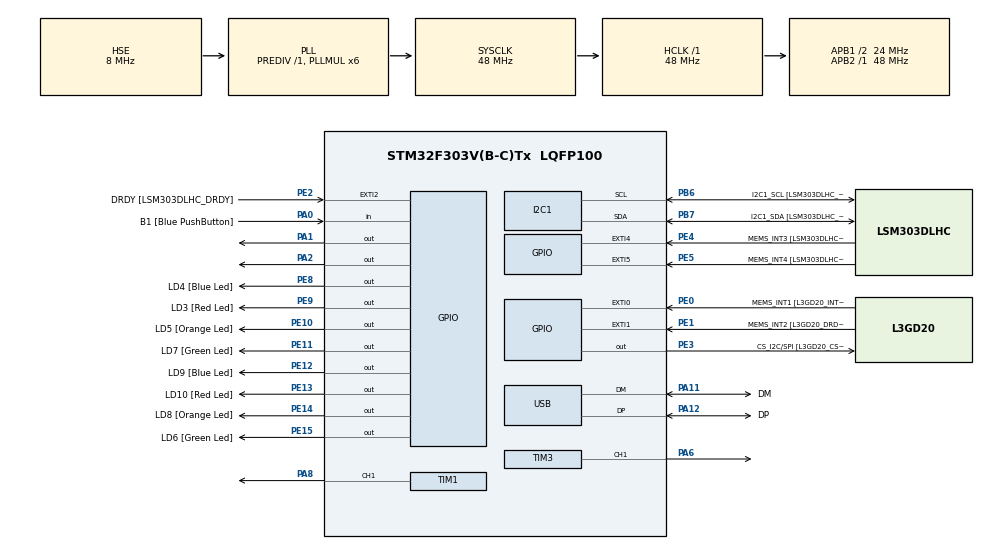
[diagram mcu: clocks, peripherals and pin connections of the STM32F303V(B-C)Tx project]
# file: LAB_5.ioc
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I2C1.Timing=0x2000090E
I2C1.Timing-I2C=0x2000090E
Mcu.Family=STM32F3
Mcu.Name=STM32F303V(B-C)Tx
Mcu.Package=LQFP100
NVIC.PriorityGroup=NVIC_PRIORITYGROUP_0
PA0.GPIO_Label=B1 [Blue PushButton]
PA0.Signal=GPIO_Input
PA1.Signal=GPIO_Output
PA11.GPIO_Label=DM
PA11.Mode=Device
PA11.Signal=USB_DM
PA12.GPIO_Label=DP
PA12.Mode=Device
PA12.Signal=USB_DP
PA13.GPIO_Label=SWDIO
PA13.Mode=Serial_Wire
PA13.Signal=SYS_JTMS-SWDIO
PA14.GPIO_Label=SWCLK
PA14.Mode=Serial_Wire
PA14.Signal=SYS_JTCK-SWCLK
PA2.Signal=GPIO_Output
PA5.GPIO_Label=SPI1_SCK [L3GD20_SCL/SPC]
PA5.Signal=SPI1_SCK
PA6.Signal=S_TIM3_CH1
PA7.GPIO_Label=SPI1_MISO [L3GD20_SDA/SDI/SDO]
PA7.Signal=SPI1_MOSI
PA8.Signal=S_TIM1_CH1
PB3.GPIO_Label=SWO
PB3.Signal=SYS_JTDO-TRACESWO
PB6.GPIO_Label=I2C1_SCL [LSM303DLHC_SCL]
PB6.GPIO_Pu=GPIO_PULLUP
PB6.Mode=I2C
PB6.Signal=I2C1_SCL
PB7.GPIO_Label=I2C1_SDA [LSM303DLHC_SDA]
PB7.GPIO_Pu=GPIO_PULLUP
PB7.Mode=I2C
PB7.Signal=I2C1_SDA
PC14-OSC32_IN.GPIO_Label=OSC32_IN
PC14-OSC32_IN.Signal=RCC_OSC32_IN
PC15-OSC32_OUT.GPIO_Label=OSC32_OUT
PC15-OSC32_OUT.Signal=RCC_OSC32_OUT
PE0.GPIO_Label=MEMS_INT1 [L3GD20_INT1]
PE0.GPIO_ModeDefaultEXTI=GPIO_MODE_EVT_RISING
PE0.Signal=GPXTI0
PE1.GPIO_Label=MEMS_INT2 [L3GD20_DRDY/INT2]
PE1.GPIO_ModeDefaultEXTI=GPIO_MODE_EVT_RISING
PE1.Signal=GPXTI1
PE10.GPIO_Label=LD5 [Orange Led]
PE10.Signal=GPIO_Output
PE11.GPIO_Label=LD7 [Green Led]
PE11.Signal=GPIO_Output
PE12.GPIO_Label=LD9 [Blue Led]
PE12.Signal=GPIO_Output
PE13.GPIO_Label=LD10 [Red Led]
PE13.Signal=GPIO_Output
PE14.GPIO_Label=LD8 [Orange Led]
PE14.Signal=GPIO_Output
PE15.GPIO_Label=LD6 [Green Led]
PE15.Signal=GPIO_Output
PE2.GPIO_Label=DRDY [LSM303DLHC_DRDY]
PE2.GPIO_ModeDefaultEXTI=GPIO_MODE_EVT_RISING
PE2.Signal=GPXTI2
PE3.GPIO_Label=CS_I2C/SPI [L3GD20_CS_I2C/SPI]
PE3.Signal=GPIO_Output
PE4.GPIO_Label=MEMS_INT3 [LSM303DLHC_INT1]
PE4.GPIO_ModeDefaultEXTI=GPIO_MODE_EVT_RISING
PE4.Signal=GPXTI4
PE5.GPIO_Label=MEMS_INT4 [LSM303DLHC_INT2]
PE5.GPIO_ModeDefaultEXTI=GPIO_MODE_EVT_RISING
PE5.Signal=GPXTI5
PE8.GPIO_Label=LD4 [Blue Led]
PE8.Signal=GPIO_Output
PE9.GPIO_Label=LD3 [Red Led]
PE9.Signal=GPIO_Output
PF0-OSC_IN.GPIO_Label=OSC_IN
PF0-OSC_IN.Mode=HSE-External-Clock-Source
PF0-OSC_IN.Signal=RCC_OSC_IN
PF1-OSC_OUT.GPIO_Label=OSC_OUT
PF1-OSC_OUT.Signal=RCC_OSC_OUT
ProjectManager.HeapSize=0x200
ProjectManager.StackSize=0x400
ProjectManager.TargetToolchain=CMake
RCC.AHBFreq_Value=48000000
RCC.APB1CLKDivider=RCC_HCLK_DIV2
RCC.APB1Freq_Value=24000000
RCC.APB1TimFreq_Value=48000000
RCC.APB2Freq_Value=48000000
RCC.APB2TimFreq_Value=48000000
RCC.CortexFreq_Value=48000000
RCC.HCLKFreq_Value=48000000
RCC.HSE_VALUE=8000000
RCC.HSI_VALUE=8000000
RCC.LSE_VALUE=32768
RCC.PLLMUL=RCC_PLL_MUL6
RCC.SYSCLKFreq_VALUE=48000000
RCC.SYSCLKSourceVirtual=RCC_SYSCLKSOURCE_PLLCLK
RCC.USBFreq_Value=48000000
SH.S_TIM1_CH1.0=TIM1_CH1,PWM Generation1 CH1
SH.S_TIM3_CH1.0=TIM3_CH1,PWM Generation1 CH1
TIM1.Channel-PWM\ Generation1\ CH1=TIM_CHANNEL_1
TIM3.Channel-PWM\ Generation1\ CH1=TIM_CHANNEL_1
TIM3.Period=999
TIM3.Prescaler=71
board=STM32F3DISCOVERY

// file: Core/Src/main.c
/* USER CODE BEGIN Header */
/**
  ******************************************************************************
  * @file           : main.c
  * @brief          : Main program body (Task 2 - Motor Speed Control)
  ******************************************************************************
  */
/* USER CODE END Header */
#include "main.h"

I2C_HandleTypeDef hi2c1;

TIM_HandleTypeDef htim1;
TIM_HandleTypeDef htim3;

PCD_HandleTypeDef hpcd_USB_FS;

void SystemClock_Config(void);
static void MX_GPIO_Init(void);
static void MX_I2C1_Init(void);
static void MX_TIM3_Init(void);
static void MX_USB_PCD_Init(void);
static void MX_TIM1_Init(void);
/* USER CODE BEGIN PFP */
void Motor_SetSpeed(uint16_t speed);
void Motor_SetDirection(uint8_t dir);
/* USER CODE END PFP */

/* USER CODE BEGIN 0 */
/* Motor wiring:
   - PA6  -> PWM input (ENA) on Keyes L298N
   - PA9  -> IN1 (direction)
   - PA10 -> IN2 (direction)
*/
/* USER CODE END 0 */

 /* USER CODE BEGIN 0 */

// Motor control helper functions
void Motor_SetSpeed(uint16_t speed)
{
    if (speed > 999) speed = 999; // clamp to ARR
    __HAL_TIM_SET_COMPARE(&htim3, TIM_CHANNEL_1, speed);
}

void Motor_SetDirection(uint8_t dir)
{
    if (dir == 0) { // forward
        HAL_GPIO_WritePin(GPIOA, GPIO_PIN_1, GPIO_PIN_SET);
        HAL_GPIO_WritePin(GPIOA, GPIO_PIN_2, GPIO_PIN_RESET);
    } else {        // reverse
        HAL_GPIO_WritePin(GPIOA, GPIO_PIN_1, GPIO_PIN_RESET);
        HAL_GPIO_WritePin(GPIOA, GPIO_PIN_2, GPIO_PIN_SET);
    }
}

/* USER CODE END 0 */

int main(void)
{

  /* MCU Configuration--------------------------------------------------------*/

  /* Reset of all peripherals, Initializes the Flash interface and the Systick. */
  HAL_Init();

  /* Configure the system clock */
  SystemClock_Config();

  /* Initialize all configured peripherals */
  MX_GPIO_Init();
  MX_I2C1_Init();
  MX_TIM3_Init();
  MX_USB_PCD_Init();
  MX_TIM1_Init();
  /* USER CODE BEGIN 2 */
  // Start PWM on TIM3 Channel 1 (PC6)
HAL_TIM_PWM_Start(&htim3, TIM_CHANNEL_1);  // correct spelling!
Motor_SetDirection(0);
Motor_SetSpeed(500);

  // Initial direction = forward
  HAL_GPIO_WritePin(GPIOA, GPIO_PIN_1, GPIO_PIN_SET);   // IN1 = 1
  HAL_GPIO_WritePin(GPIOA, GPIO_PIN_2, GPIO_PIN_RESET); // IN2 = 0

  // Set 50% duty cycle
  __HAL_TIM_SET_COMPARE(&htim3, TIM_CHANNEL_1, 500);

  /* USER CODE END 2 */

  /* Infinite loop */
  /* USER CODE BEGIN WHILE */
  while (1)
{
    // Clockwise
    Motor_SetDirection(0);   // IN1=1, IN2=0
    Motor_SetSpeed(700);     // ~70% duty cycle

    HAL_Delay(1000);         // run 1 second

    // Stop
    Motor_SetSpeed(0);
    HAL_Delay(500);

    // Counter-Clockwise
    Motor_SetDirection(1);   // IN1=0, IN2=1
    Motor_SetSpeed(700);     // ~70% duty cycle
    HAL_Delay(1000);         // run 1 second

    // Stop
    Motor_SetSpeed(0);
    HAL_Delay(500);
}

  /* USER CODE END 3 */
}

void SystemClock_Config(void)
{
  RCC_OscInitTypeDef RCC_OscInitStruct = {0};
  RCC_ClkInitTypeDef RCC_ClkInitStruct = {0};
  RCC_PeriphCLKInitTypeDef PeriphClkInit = {0};

  /** Initializes the RCC Oscillators according to the specified parameters
  * in the RCC_OscInitTypeDef structure.
  */
  RCC_OscInitStruct.OscillatorType = RCC_OSCILLATORTYPE_HSI|RCC_OSCILLATORTYPE_HSE;
  RCC_OscInitStruct.HSEState = RCC_HSE_BYPASS;
  RCC_OscInitStruct.HSEPredivValue = RCC_HSE_PREDIV_DIV1;
  RCC_OscInitStruct.HSIState = RCC_HSI_ON;
  RCC_OscInitStruct.HSICalibrationValue = RCC_HSICALIBRATION_DEFAULT;
  RCC_OscInitStruct.PLL.PLLState = RCC_PLL_ON;
  RCC_OscInitStruct.PLL.PLLSource = RCC_PLLSOURCE_HSE;
  RCC_OscInitStruct.PLL.PLLMUL = RCC_PLL_MUL6;
  if (HAL_RCC_OscConfig(&RCC_OscInitStruct) != HAL_OK)
  {
    Error_Handler();
  }

  /** Initializes the CPU, AHB and APB buses clocks
  */
  RCC_ClkInitStruct.ClockType = RCC_CLOCKTYPE_HCLK|RCC_CLOCKTYPE_SYSCLK
                              |RCC_CLOCKTYPE_PCLK1|RCC_CLOCKTYPE_PCLK2;
  RCC_ClkInitStruct.SYSCLKSource = RCC_SYSCLKSOURCE_PLLCLK;
  RCC_ClkInitStruct.AHBCLKDivider = RCC_SYSCLK_DIV1;
  RCC_ClkInitStruct.APB1CLKDivider = RCC_HCLK_DIV2;
  RCC_ClkInitStruct.APB2CLKDivider = RCC_HCLK_DIV1;

  if (HAL_RCC_ClockConfig(&RCC_ClkInitStruct, FLASH_LATENCY_1) != HAL_OK)
  {
    Error_Handler();
  }
  PeriphClkInit.PeriphClockSelection = RCC_PERIPHCLK_USB|RCC_PERIPHCLK_I2C1
                              |RCC_PERIPHCLK_TIM1;
  PeriphClkInit.I2c1ClockSelection = RCC_I2C1CLKSOURCE_HSI;
  PeriphClkInit.USBClockSelection = RCC_USBCLKSOURCE_PLL;
  PeriphClkInit.Tim1ClockSelection = RCC_TIM1CLK_HCLK;
  if (HAL_RCCEx_PeriphCLKConfig(&PeriphClkInit) != HAL_OK)
  {
    Error_Handler();
  }
}

static void MX_I2C1_Init(void)
{

  hi2c1.Instance = I2C1;
  hi2c1.Init.Timing = 0x2000090E;
  hi2c1.Init.OwnAddress1 = 0;
  hi2c1.Init.AddressingMode = I2C_ADDRESSINGMODE_7BIT;
  hi2c1.Init.DualAddressMode = I2C_DUALADDRESS_DISABLE;
  hi2c1.Init.OwnAddress2 = 0;
  hi2c1.Init.OwnAddress2Masks = I2C_OA2_NOMASK;
  hi2c1.Init.GeneralCallMode = I2C_GENERALCALL_DISABLE;
  hi2c1.Init.NoStretchMode = I2C_NOSTRETCH_DISABLE;
  if (HAL_I2C_Init(&hi2c1) != HAL_OK)
  {
    Error_Handler();
  }

  /** Configure Analogue filter
  */
  if (HAL_I2CEx_ConfigAnalogFilter(&hi2c1, I2C_ANALOGFILTER_ENABLE) != HAL_OK)
  {
    Error_Handler();
  }

  /** Configure Digital filter
  */
  if (HAL_I2CEx_ConfigDigitalFilter(&hi2c1, 0) != HAL_OK)
  {
    Error_Handler();
  }

}

static void MX_TIM1_Init(void)
{

  TIM_MasterConfigTypeDef sMasterConfig = {0};
  TIM_OC_InitTypeDef sConfigOC = {0};
  TIM_BreakDeadTimeConfigTypeDef sBreakDeadTimeConfig = {0};

  htim1.Instance = TIM1;
  htim1.Init.Prescaler = 0;
  htim1.Init.CounterMode = TIM_COUNTERMODE_UP;
  htim1.Init.Period = 65535;
  htim1.Init.ClockDivision = TIM_CLOCKDIVISION_DIV1;
  htim1.Init.RepetitionCounter = 0;
  htim1.Init.AutoReloadPreload = TIM_AUTORELOAD_PRELOAD_DISABLE;
  if (HAL_TIM_PWM_Init(&htim1) != HAL_OK)
  {
    Error_Handler();
  }
  sMasterConfig.MasterOutputTrigger = TIM_TRGO_RESET;
  sMasterConfig.MasterOutputTrigger2 = TIM_TRGO2_RESET;
  sMasterConfig.MasterSlaveMode = TIM_MASTERSLAVEMODE_DISABLE;
  if (HAL_TIMEx_MasterConfigSynchronization(&htim1, &sMasterConfig) != HAL_OK)
  {
    Error_Handler();
  }
  sConfigOC.OCMode = TIM_OCMODE_PWM1;
  sConfigOC.Pulse = 0;
  sConfigOC.OCPolarity = TIM_OCPOLARITY_HIGH;
  sConfigOC.OCNPolarity = TIM_OCNPOLARITY_HIGH;
  sConfigOC.OCFastMode = TIM_OCFAST_DISABLE;
  sConfigOC.OCIdleState = TIM_OCIDLESTATE_RESET;
  sConfigOC.OCNIdleState = TIM_OCNIDLESTATE_RESET;
  if (HAL_TIM_PWM_ConfigChannel(&htim1, &sConfigOC, TIM_CHANNEL_1) != HAL_OK)
  {
    Error_Handler();
  }
  sBreakDeadTimeConfig.OffStateRunMode = TIM_OSSR_DISABLE;
  sBreakDeadTimeConfig.OffStateIDLEMode = TIM_OSSI_DISABLE;
  sBreakDeadTimeConfig.LockLevel = TIM_LOCKLEVEL_OFF;
  sBreakDeadTimeConfig.DeadTime = 0;
  sBreakDeadTimeConfig.BreakState = TIM_BREAK_DISABLE;
  sBreakDeadTimeConfig.BreakPolarity = TIM_BREAKPOLARITY_HIGH;
  sBreakDeadTimeConfig.BreakFilter = 0;
  sBreakDeadTimeConfig.Break2State = TIM_BREAK2_DISABLE;
  sBreakDeadTimeConfig.Break2Polarity = TIM_BREAK2POLARITY_HIGH;
  sBreakDeadTimeConfig.Break2Filter = 0;
  sBreakDeadTimeConfig.AutomaticOutput = TIM_AUTOMATICOUTPUT_DISABLE;
  if (HAL_TIMEx_ConfigBreakDeadTime(&htim1, &sBreakDeadTimeConfig) != HAL_OK)
  {
    Error_Handler();
  }
  HAL_TIM_MspPostInit(&htim1);

}

static void MX_TIM3_Init(void)
{

  TIM_MasterConfigTypeDef sMasterConfig = {0};
  TIM_OC_InitTypeDef sConfigOC = {0};

  htim3.Instance = TIM3;
  htim3.Init.Prescaler = 71;
  htim3.Init.CounterMode = TIM_COUNTERMODE_UP;
  htim3.Init.Period = 999;
  htim3.Init.ClockDivision = TIM_CLOCKDIVISION_DIV1;
  htim3.Init.AutoReloadPreload = TIM_AUTORELOAD_PRELOAD_DISABLE;
  if (HAL_TIM_PWM_Init(&htim3) != HAL_OK)
  {
    Error_Handler();
  }
  sMasterConfig.MasterOutputTrigger = TIM_TRGO_RESET;
  sMasterConfig.MasterSlaveMode = TIM_MASTERSLAVEMODE_DISABLE;
  if (HAL_TIMEx_MasterConfigSynchronization(&htim3, &sMasterConfig) != HAL_OK)
  {
    Error_Handler();
  }
  sConfigOC.OCMode = TIM_OCMODE_PWM1;
  sConfigOC.Pulse = 0;
  sConfigOC.OCPolarity = TIM_OCPOLARITY_HIGH;
  sConfigOC.OCFastMode = TIM_OCFAST_DISABLE;
  if (HAL_TIM_PWM_ConfigChannel(&htim3, &sConfigOC, TIM_CHANNEL_1) != HAL_OK)
  {
    Error_Handler();
  }
  HAL_TIM_MspPostInit(&htim3);

}

static void MX_USB_PCD_Init(void)
{

  hpcd_USB_FS.Instance = USB;
  hpcd_USB_FS.Init.dev_endpoints = 8;
  hpcd_USB_FS.Init.speed = PCD_SPEED_FULL;
  hpcd_USB_FS.Init.phy_itface = PCD_PHY_EMBEDDED;
  hpcd_USB_FS.Init.low_power_enable = DISABLE;
  hpcd_USB_FS.Init.battery_charging_enable = DISABLE;
  if (HAL_PCD_Init(&hpcd_USB_FS) != HAL_OK)
  {
    Error_Handler();
  }

}

static void MX_GPIO_Init(void)
{
  GPIO_InitTypeDef GPIO_InitStruct = {0};

  /* GPIO Ports Clock Enable */
  __HAL_RCC_GPIOE_CLK_ENABLE();
  __HAL_RCC_GPIOC_CLK_ENABLE();
  __HAL_RCC_GPIOF_CLK_ENABLE();
  __HAL_RCC_GPIOA_CLK_ENABLE();
  __HAL_RCC_GPIOB_CLK_ENABLE();

  /*Configure GPIO pin Output Level */
  HAL_GPIO_WritePin(GPIOE, CS_I2C_SPI_Pin|LD4_Pin|LD3_Pin|LD5_Pin
                          |LD7_Pin|LD9_Pin|LD10_Pin|LD8_Pin
                          |LD6_Pin, GPIO_PIN_RESET);

  /*Configure GPIO pin Output Level */
  HAL_GPIO_WritePin(GPIOA, GPIO_PIN_1|GPIO_PIN_2, GPIO_PIN_RESET);

  /*Configure GPIO pins : DRDY_Pin MEMS_INT3_Pin MEMS_INT4_Pin MEMS_INT1_Pin
                           MEMS_INT2_Pin */
  GPIO_InitStruct.Pin = DRDY_Pin|MEMS_INT3_Pin|MEMS_INT4_Pin|MEMS_INT1_Pin
                          |MEMS_INT2_Pin;
  GPIO_InitStruct.Mode = GPIO_MODE_EVT_RISING;
  GPIO_InitStruct.Pull = GPIO_NOPULL;
  HAL_GPIO_Init(GPIOE, &GPIO_InitStruct);

  /*Configure GPIO pins : CS_I2C_SPI_Pin LD4_Pin LD3_Pin LD5_Pin
                           LD7_Pin LD9_Pin LD10_Pin LD8_Pin
                           LD6_Pin */
  GPIO_InitStruct.Pin = CS_I2C_SPI_Pin|LD4_Pin|LD3_Pin|LD5_Pin
                          |LD7_Pin|LD9_Pin|LD10_Pin|LD8_Pin
                          |LD6_Pin;
  GPIO_InitStruct.Mode = GPIO_MODE_OUTPUT_PP;
  GPIO_InitStruct.Pull = GPIO_NOPULL;
  GPIO_InitStruct.Speed = GPIO_SPEED_FREQ_LOW;
  HAL_GPIO_Init(GPIOE, &GPIO_InitStruct);

  /*Configure GPIO pin : B1_Pin */
  GPIO_InitStruct.Pin = B1_Pin;
  GPIO_InitStruct.Mode = GPIO_MODE_INPUT;
  GPIO_InitStruct.Pull = GPIO_NOPULL;
  HAL_GPIO_Init(B1_GPIO_Port, &GPIO_InitStruct);

  /*Configure GPIO pins : PA1 PA2 */
  GPIO_InitStruct.Pin = GPIO_PIN_1|GPIO_PIN_2;
  GPIO_InitStruct.Mode = GPIO_MODE_OUTPUT_PP;
  GPIO_InitStruct.Pull = GPIO_NOPULL;
  GPIO_InitStruct.Speed = GPIO_SPEED_FREQ_LOW;
  HAL_GPIO_Init(GPIOA, &GPIO_InitStruct);

  /*Configure GPIO pins : SPI1_SCK_Pin SPI1_MISO_Pin */
  GPIO_InitStruct.Pin = SPI1_SCK_Pin|SPI1_MISO_Pin;
  GPIO_InitStruct.Mode = GPIO_MODE_AF_PP;
  GPIO_InitStruct.Pull = GPIO_NOPULL;
  GPIO_InitStruct.Speed = GPIO_SPEED_FREQ_HIGH;
  GPIO_InitStruct.Alternate = GPIO_AF5_SPI1;
  HAL_GPIO_Init(GPIOA, &GPIO_InitStruct);

}

/* USER CODE BEGIN 4 */
// void Motor_SetSpeed(uint16_t speed)
// {
//     if (speed > 999) speed = 999; // clamp
//     __HAL_TIM_SET_COMPARE(&htim3, TIM_CHANNEL_1, speed);
// }

// void Motor_SetDirection(uint8_t dir)
// {
//     if (dir == 0) { // forward
//         HAL_GPIO_WritePin(GPIOA, GPIO_PIN_9, GPIO_PIN_SET);
//         HAL_GPIO_WritePin(GPIOA, GPIO_PIN_10, GPIO_PIN_RESET);
//     } else {        // reverse
//         HAL_GPIO_WritePin(GPIOA, GPIO_PIN_9, GPIO_PIN_RESET);
//         HAL_GPIO_WritePin(GPIOA, GPIO_PIN_10, GPIO_PIN_SET);
//     }
// }

/* USER CODE END 4 */

void Error_Handler(void)
{
  __disable_irq();
  while (1)
  {
  }
}
